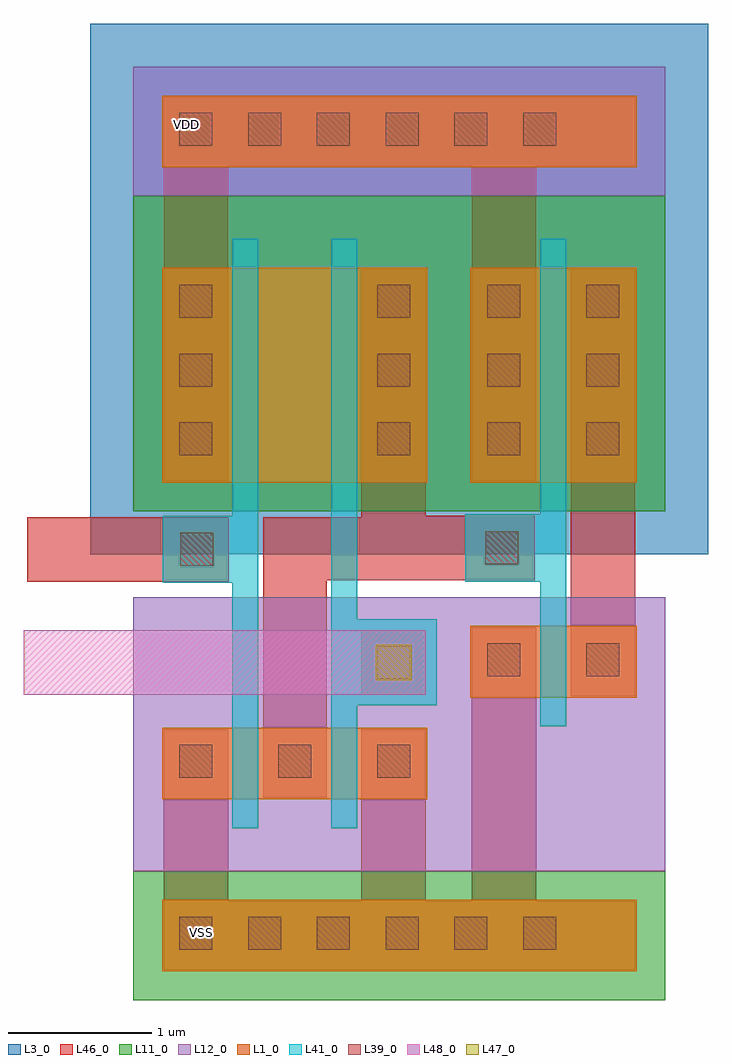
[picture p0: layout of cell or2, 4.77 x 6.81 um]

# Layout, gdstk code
import gdstk
lib = gdstk.Library(unit=1e-6, precision=1e-09)
def R(c, l, rs):  # rectangles x0, y0, x1, y1
    for r in rs: c.add(gdstk.rectangle(r[:2], r[2:], *l))
def A(c, l, x, y, w, h, nx, ny, dx, dy):  # array of equal rectangles
    R(c, l, [(x+i*dx, y+j*dy, x+i*dx+w, y+j*dy+h) for i in range(nx) for j in range(ny)])
def P(c, l, *ps):  # polygons
    for p in ps: c.add(gdstk.Polygon(p, *l))
L1_0 = (1, 0)
L3_0 = (3, 0)
L11_0 = (11, 0)
L12_0 = (12, 0)
L39_0 = (39, 0)
L41_0 = (41, 0)
L46_0 = (46, 0)
L47_0 = (47, 0)
L48_0 = (48, 0)

or2 = lib.new_cell('or2')
R(or2, L1_0, [(0.435,0.415,3.745,0.915), (0.435,1.615,2.285,2.115), (2.585,2.325,3.745,2.825), (0.435,3.825,2.285,5.325), (2.585,3.825,3.745,5.325), (0.435,6.026,3.745,6.526)])
R(or2, L3_0, [(-0.065,3.325,4.245,7.025)])
R(or2, L11_0, [(0.235,0.215,3.945,1.115), (0.235,3.625,3.945,5.825)])
R(or2, L12_0, [(0.235,1.115,3.945,3.025), (0.235,5.825,3.945,6.725)])
A(or2, L39_0, 0.555, 0.565, 0.23, 0.23, 6, 2, 0.48, 5.611)
A(or2, L39_0, 0.555, 1.765, 0.23, 0.23, 3, 1, 0.69, 0)
A(or2, L39_0, 0.555, 4.015, 0.23, 0.23, 1, 3, 0, 0.48)
A(or2, L39_0, 1.935, 4.015, 0.23, 0.23, 1, 3, 0, 0.48)
A(or2, L39_0, 2.705, 4.015, 0.23, 0.23, 1, 3, 0, 0.48)
A(or2, L39_0, 3.395, 4.015, 0.23, 0.23, 1, 3, 0, 0.48)
R(or2, L39_0, [(1.935,2.455,2.165,2.685), (2.705,2.475,2.935,2.705), (3.395,2.475,3.625,2.705), (0.56,3.245,0.79,3.475), (2.69,3.255,2.92,3.485)])
R(or2, L41_0, [(1.75,2.27,2.35,2.87)])
P(or2, L41_0, [(1.615,1.415),(1.615,5.525),(1.795,5.525),(1.795,2.815),(2.35,2.815),(2.35,2.345),(1.795,2.345),(1.795,1.415)],
  [(0.925,1.415),(0.925,3.125),(0.44,3.125),(0.44,3.595),(0.925,3.595),(0.925,5.525),(1.105,5.525),(1.105,1.415)],
  [(3.075,2.125),(3.075,3.135),(2.55,3.135),(2.55,3.605),(3.075,3.605),(3.075,5.525),(3.255,5.525),(3.255,2.125)])
R(or2, L46_0, [(0.445,0.425,0.895,2.105), (0.445,0.425,3.735,0.905), (1.825,0.425,2.275,2.105), (2.595,0.425,3.045,2.815), (1.14,1.625,1.585,3.585), (3.285,2.335,3.735,5.315), (1.825,2.345,2.275,2.795), (-0.505,3.135,0.9,3.585), (1.14,3.145,2.275,3.585), (1.925,3.145,3.035,3.595), (1.825,3.27,2.275,5.315), (0.445,3.835,0.895,5.315), (2.595,3.835,3.045,6.515), (0.445,4.96,0.895,6.516), (0.445,6.036,3.735,6.516)])
R(or2, L47_0, [(1.925,2.445,2.175,2.695)])
R(or2, L48_0, [(-0.53,2.345,2.275,2.795)])
or2.add(gdstk.Label('VSS', (0.71,0.685), layer=101, texttype=0))
or2.add(gdstk.Label('VDD', (0.605,6.325), layer=101, texttype=0))

lib.write_gds('or2.gds')
